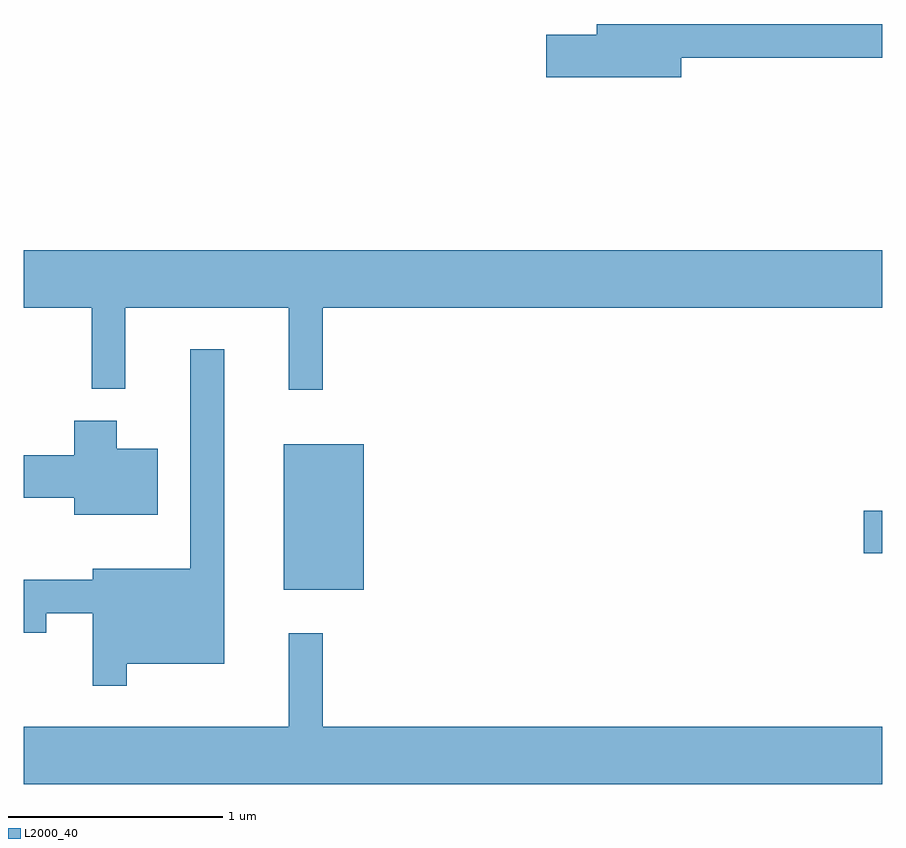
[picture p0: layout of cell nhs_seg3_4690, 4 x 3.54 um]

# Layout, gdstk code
import gdstk
lib = gdstk.Library(unit=1e-6, precision=1e-09)
def R(c, l, rs):  # rectangles x0, y0, x1, y1
    for r in rs: c.add(gdstk.rectangle(r[:2], r[2:], *l))
def P(c, l, *ps):  # polygons
    for p in ps: c.add(gdstk.Polygon(p, *l))
L2000_40 = (2000, 40)

nhs_seg3_4690 = lib.new_cell('nhs_seg3_4690')
R(nhs_seg3_4690, L2000_40, [(322.821,1249.021,323.194,1249.699), (325.526,1249.191,325.611,1249.389)])
P(nhs_seg3_4690, L2000_40, [(324.674,1251.501),(325.611,1251.501),(325.611,1251.659),(324.281,1251.659),(324.281,1251.609),(324.046,1251.609),(324.046,1251.411),(324.674,1251.411)],
  [(323.004,1250.336),(325.611,1250.336),(325.611,1250.604),(321.611,1250.604),(321.611,1250.336),(321.926,1250.336),(321.926,1249.958),(322.084,1249.958),(322.084,1250.336),(322.846,1250.336),(322.846,1249.953),(323.004,1249.953)],
  [(322.089,1248.676),(322.544,1248.676),(322.544,1250.143),(322.386,1250.143),(322.386,1249.119),(321.931,1249.119),(321.931,1249.069),(321.611,1249.069),(321.611,1248.821),(321.714,1248.821),(321.714,1248.911),(321.931,1248.911),(321.931,1248.573),(322.089,1248.573)],
  [(322.234,1249.679),(322.044,1249.679),(322.044,1249.809),(321.846,1249.809),(321.846,1249.649),(321.611,1249.649),(321.611,1249.451),(321.846,1249.451),(321.846,1249.371),(322.234,1249.371)],
  [(325.611,1248.384),(323.004,1248.384),(323.004,1248.818),(322.846,1248.818),(322.846,1248.384),(321.611,1248.384),(321.611,1248.116),(325.611,1248.116)])

lib.write_gds('nhs_seg3_4690.gds')
